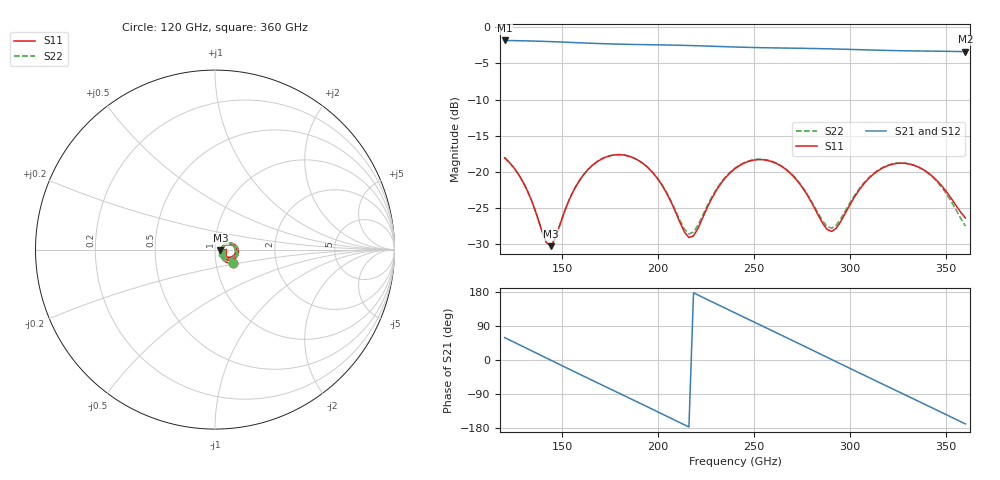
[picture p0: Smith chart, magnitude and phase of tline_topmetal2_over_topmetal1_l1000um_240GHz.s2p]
#  GHZ S DB R 50
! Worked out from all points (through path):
!   101 points, 120 GHz to 360 GHz, reference 50 ohm
!   highest |S21| = -1.85 dB at 120 GHz (marker M1); lowest = -3.4 dB at 360 GHz (marker M2)
!   group delay of S21, straight-line fit = 6.8 ps
!   lowest |S11| = -30.2 dB at 144 GHz (marker M3), VSWR 1.06, Z = 53.1 - j0.429 ohm
!   |S11| at or under -10 dB: start of sweep to end of sweep
!   |S22| runs from -30.2 to -17.6 dB; largest |S21 - S12| = 1.2e-13
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120  -18.04 -36.2  -1.85 59.1  -1.85 59.1  -18.04 -36.2
132  -22.67 -51.7  -1.91 29.5  -1.91 29.5  -22.67 -51.6
141.6  -29.70 -27.9  -1.99 5.6  -1.99 5.6  -29.66 -27.6
144  -30.24 -7.5  -2.01 -0.3  -2.01 -0.3  -30.18 -7.4
160.8  -20.49 22.8  -2.19 -41.7  -2.19 -41.7  -20.48 22.7
170.4  -18.23 7.8  -2.29 -65.2  -2.29 -65.2  -18.22 7.8
180  -17.61 -9.3  -2.36 -88.5  -2.36 -88.5  -17.60 -9.2
189.6  -18.39 -26.1  -2.41 -111.9  -2.41 -111.9  -18.37 -25.7
201.6  -21.66 -42.2  -2.46 -141.3  -2.46 -141.3  -21.61 -41.3
216  -29.05 -13.3  -2.55 -176.8  -2.55 -176.8  -28.54 -12.8
228  -23.60 25.6  -2.65 153.6  -2.65 153.6  -23.40 23.7
240  -19.54 14.3  -2.75 124.3  -2.75 124.3  -19.46 12.9
249.6  -18.37 -1.0  -2.82 101.0  -2.82 101.0  -18.31 -2.1
259.2  -18.57 -16.9  -2.87 77.6  -2.87 77.6  -18.52 -17.9
268.8  -20.17 -31.0  -2.91 54.2  -2.91 54.2  -20.11 -31.7
280.8  -24.67 -36.5  -2.96 24.7  -2.96 24.7  -24.50 -36.6
290.4  -28.21 -5.3  -3.02 1.1  -3.02 1.1  -27.75 -6.7
304.8  -22.43 22.8  -3.12 -34.1  -3.12 -34.1  -22.27 19.6
321.6  -18.96 2.9  -3.24 -75.0  -3.24 -75.0  -18.91 -0.6
338.4  -19.72 -21.9  -3.31 -115.9  -3.31 -115.9  -19.76 -26.4
350.4  -22.82 -31.6  -3.35 -145.2  -3.35 -145.2  -23.13 -37.9
360  -26.34 -19.1  -3.40 -168.7  -3.40 -168.7  -27.47 -25.4
